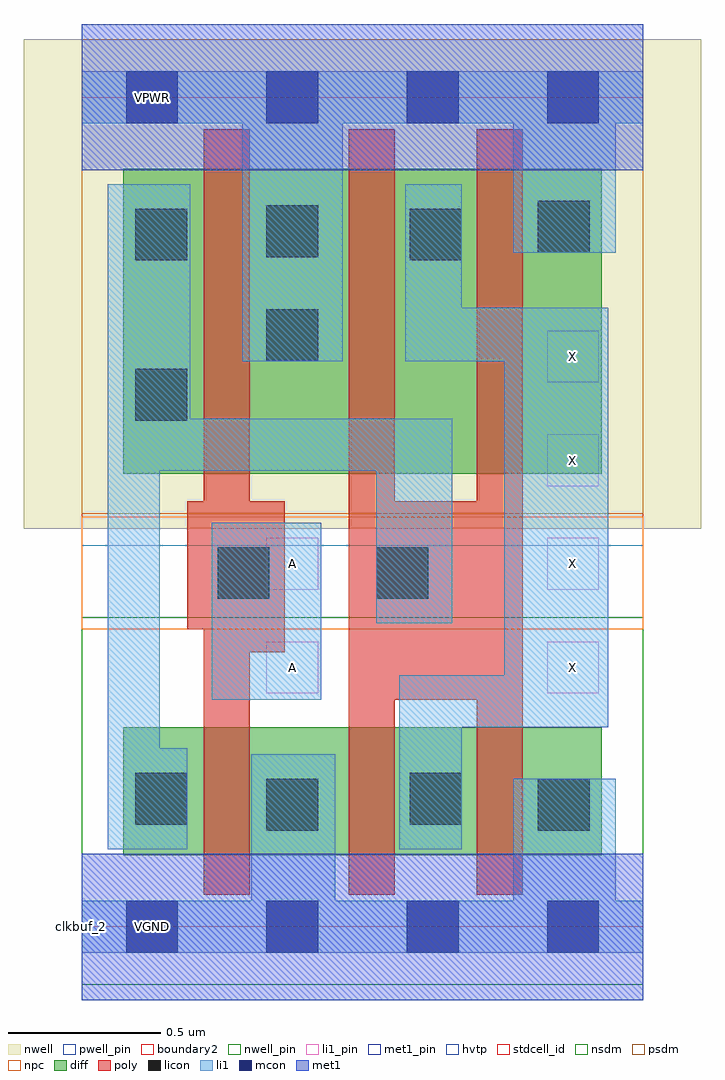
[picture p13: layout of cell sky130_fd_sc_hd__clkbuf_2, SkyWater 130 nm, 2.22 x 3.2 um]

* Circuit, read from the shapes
.subckt sky130_fd_sc_hd__clkbuf_2 A VGND VNB VPB VPWR X
XM1 VGND A n1 VNB sky130_fd_pr__nfet_01v8 w=0.42 l=0.15
XM2 X n1 VGND VNB sky130_fd_pr__nfet_01v8 w=0.42 l=0.15 m=2
XM3 VPWR A n1 VPB sky130_fd_pr__pfet_01v8_hvt w=1 l=0.15
XM4 X n1 VPWR VPB sky130_fd_pr__pfet_01v8_hvt w=1 l=0.15 m=2
.ends

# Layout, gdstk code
import gdstk
lib = gdstk.Library(unit=1e-6, precision=1e-09)
def R(c, l, rs):  # rectangles x0, y0, x1, y1
    for r in rs: c.add(gdstk.rectangle(r[:2], r[2:], *l))
def P(c, l, *ps):  # polygons
    for p in ps: c.add(gdstk.Polygon(p, *l))
nwell_pin = (64, 16)
nwell = (64, 20)
diff = (65, 20)
poly = (66, 20)
licon = (66, 44)
li1_pin = (67, 16)
li1 = (67, 20)
mcon = (67, 44)
met1_pin = (68, 16)
met1 = (68, 20)
hvtp = (78, 44)
stdcell_id = (81, 4)
nsdm = (93, 44)
psdm = (94, 20)
npc = (95, 20)
pwell_pin = (122, 16)
boundary2 = (236, 0)

sky130_fd_sc_hd__clkbuf_ = lib.new_cell('sky130_fd_sc_hd__clkbuf_2')
R(sky130_fd_sc_hd__clkbuf_, nwell_pin, [(0.145,2.635,0.315,2.805), (0.145,2.635,0.315,2.805), (0.145,2.635,0.315,2.805), (0.145,2.635,0.315,2.805), (0.145,2.635,0.315,2.805)])
R(sky130_fd_sc_hd__clkbuf_, nwell, [(-0.19,1.305,2.03,2.91), (-0.19,1.305,2.03,2.91), (-0.19,1.305,2.03,2.91), (-0.19,1.305,2.03,2.91), (-0.19,1.305,2.03,2.91)])
R(sky130_fd_sc_hd__clkbuf_, diff, [(0.135,0.235,1.705,0.655), (0.135,0.235,1.705,0.655), (0.135,0.235,1.705,0.655), (0.135,0.235,1.705,0.655), (0.135,0.235,1.705,0.655), (0.135,1.485,1.705,2.485), (0.135,1.485,1.705,2.485), (0.135,1.485,1.705,2.485), (0.135,1.485,1.705,2.485), (0.135,1.485,1.705,2.485)])
P(sky130_fd_sc_hd__clkbuf_, poly, [(0.4,0.105),(0.4,0.975),(0.345,0.975),(0.345,1.395),(0.4,1.395),(0.4,2.615),(0.55,2.615),(0.55,1.395),(0.665,1.395),(0.665,0.9),(0.55,0.9),(0.55,0.105)],
  [(0.875,0.105),(0.875,2.615),(1.025,2.615),(1.025,1.395),(1.295,1.395),(1.295,2.615),(1.445,2.615),(1.445,0.105),(1.295,0.105),(1.295,0.745),(1.025,0.745),(1.025,0.105)],
  [(0.4,0.105),(0.4,0.975),(0.345,0.975),(0.345,1.395),(0.4,1.395),(0.4,2.615),(0.55,2.615),(0.55,1.395),(0.665,1.395),(0.665,0.9),(0.55,0.9),(0.55,0.105)],
  [(0.875,0.105),(0.875,2.615),(1.025,2.615),(1.025,1.395),(1.295,1.395),(1.295,2.615),(1.445,2.615),(1.445,0.105),(1.295,0.105),(1.295,0.745),(1.025,0.745),(1.025,0.105)],
  [(0.4,0.105),(0.4,0.975),(0.345,0.975),(0.345,1.395),(0.4,1.395),(0.4,2.615),(0.55,2.615),(0.55,1.395),(0.665,1.395),(0.665,0.9),(0.55,0.9),(0.55,0.105)],
  [(0.875,0.105),(0.875,2.615),(1.025,2.615),(1.025,1.395),(1.295,1.395),(1.295,2.615),(1.445,2.615),(1.445,0.105),(1.295,0.105),(1.295,0.745),(1.025,0.745),(1.025,0.105)],
  [(0.4,0.105),(0.4,0.975),(0.345,0.975),(0.345,1.395),(0.4,1.395),(0.4,2.615),(0.55,2.615),(0.55,1.395),(0.665,1.395),(0.665,0.9),(0.55,0.9),(0.55,0.105)],
  [(0.875,0.105),(0.875,2.615),(1.025,2.615),(1.025,1.395),(1.295,1.395),(1.295,2.615),(1.445,2.615),(1.445,0.105),(1.295,0.105),(1.295,0.745),(1.025,0.745),(1.025,0.105)],
  [(0.4,0.105),(0.4,0.975),(0.345,0.975),(0.345,1.395),(0.4,1.395),(0.4,2.615),(0.55,2.615),(0.55,1.395),(0.665,1.395),(0.665,0.9),(0.55,0.9),(0.55,0.105)],
  [(0.875,0.105),(0.875,2.615),(1.025,2.615),(1.025,1.395),(1.295,1.395),(1.295,2.615),(1.445,2.615),(1.445,0.105),(1.295,0.105),(1.295,0.745),(1.025,0.745),(1.025,0.105)])
R(sky130_fd_sc_hd__clkbuf_, licon, [(0.605,0.315,0.775,0.485), (0.605,0.315,0.775,0.485), (0.605,0.315,0.775,0.485), (0.605,0.315,0.775,0.485), (0.605,0.315,0.775,0.485), (1.495,0.315,1.665,0.485), (1.495,0.315,1.665,0.485), (1.495,0.315,1.665,0.485), (1.495,0.315,1.665,0.485), (1.495,0.315,1.665,0.485), (0.175,0.335,0.345,0.505), (0.175,0.335,0.345,0.505), (0.175,0.335,0.345,0.505), (0.175,0.335,0.345,0.505), (0.175,0.335,0.345,0.505), (1.075,0.335,1.245,0.505), (1.075,0.335,1.245,0.505), (1.075,0.335,1.245,0.505), (1.075,0.335,1.245,0.505), (1.075,0.335,1.245,0.505), (0.445,1.075,0.615,1.245), (0.445,1.075,0.615,1.245), (0.445,1.075,0.615,1.245), (0.445,1.075,0.615,1.245), (0.445,1.075,0.615,1.245), (0.965,1.075,1.135,1.245), (0.965,1.075,1.135,1.245), (0.965,1.075,1.135,1.245), (0.965,1.075,1.135,1.245), (0.965,1.075,1.135,1.245), (0.175,1.66,0.345,1.83), (0.175,1.66,0.345,1.83), (0.175,1.66,0.345,1.83), (0.175,1.66,0.345,1.83), (0.175,1.66,0.345,1.83), (0.605,1.855,0.775,2.025), (0.605,1.855,0.775,2.025), (0.605,1.855,0.775,2.025), (0.605,1.855,0.775,2.025), (0.605,1.855,0.775,2.025), (0.175,2.185,0.345,2.355), (0.175,2.185,0.345,2.355), (0.175,2.185,0.345,2.355), (0.175,2.185,0.345,2.355), (0.175,2.185,0.345,2.355), (1.075,2.185,1.245,2.355), (1.075,2.185,1.245,2.355), (1.075,2.185,1.245,2.355), (1.075,2.185,1.245,2.355), (1.075,2.185,1.245,2.355), (0.605,2.195,0.775,2.365), (0.605,2.195,0.775,2.365), (0.605,2.195,0.775,2.365), (0.605,2.195,0.775,2.365), (0.605,2.195,0.775,2.365), (1.495,2.21,1.665,2.38), (1.495,2.21,1.665,2.38), (1.495,2.21,1.665,2.38), (1.495,2.21,1.665,2.38), (1.495,2.21,1.665,2.38)])
R(sky130_fd_sc_hd__clkbuf_, li1_pin, [(0.605,0.765,0.775,0.935), (0.605,0.765,0.775,0.935), (0.605,0.765,0.775,0.935), (0.605,0.765,0.775,0.935), (0.605,0.765,0.775,0.935), (1.525,0.765,1.695,0.935), (1.525,0.765,1.695,0.935), (1.525,0.765,1.695,0.935), (1.525,0.765,1.695,0.935), (1.525,0.765,1.695,0.935), (0.605,1.105,0.775,1.275), (0.605,1.105,0.775,1.275), (0.605,1.105,0.775,1.275), (0.605,1.105,0.775,1.275), (0.605,1.105,0.775,1.275), (1.525,1.105,1.695,1.275), (1.525,1.105,1.695,1.275), (1.525,1.105,1.695,1.275), (1.525,1.105,1.695,1.275), (1.525,1.105,1.695,1.275), (1.525,1.445,1.695,1.615), (1.525,1.445,1.695,1.615), (1.525,1.445,1.695,1.615), (1.525,1.445,1.695,1.615), (1.525,1.445,1.695,1.615), (1.525,1.785,1.695,1.955), (1.525,1.785,1.695,1.955), (1.525,1.785,1.695,1.955), (1.525,1.785,1.695,1.955), (1.525,1.785,1.695,1.955)])
R(sky130_fd_sc_hd__clkbuf_, li1, [(0.425,0.745,0.785,1.325), (0.425,0.745,0.785,1.325), (0.425,0.745,0.785,1.325), (0.425,0.745,0.785,1.325), (0.425,0.745,0.785,1.325)])
P(sky130_fd_sc_hd__clkbuf_, li1, [(0.085,0.255),(0.085,2.435),(0.355,2.435),(0.355,1.665),(1.215,1.665),(1.215,0.995),(0.965,0.995),(0.965,1.495),(0.255,1.495),(0.255,0.585),(0.345,0.585),(0.345,0.255)],
  [(1.04,0.255),(1.04,0.825),(1.385,0.825),(1.385,1.855),(1.06,1.855),(1.06,2.435),(1.245,2.435),(1.245,2.03),(1.725,2.03),(1.725,0.655),(1.245,0.655),(1.245,0.255)],
  [(0.525,1.855),(0.525,2.635),(0,2.635),(0,2.805),(1.84,2.805),(1.84,2.635),(1.75,2.635),(1.75,2.21),(1.415,2.21),(1.415,2.635),(0.855,2.635),(0.855,1.855)],
  [(0,-0.085),(0,0.085),(0.555,0.085),(0.555,0.565),(0.83,0.565),(0.83,0.085),(1.415,0.085),(1.415,0.485),(1.75,0.485),(1.75,0.085),(1.84,0.085),(1.84,-0.085)],
  [(0.085,0.255),(0.085,2.435),(0.355,2.435),(0.355,1.665),(1.215,1.665),(1.215,0.995),(0.965,0.995),(0.965,1.495),(0.255,1.495),(0.255,0.585),(0.345,0.585),(0.345,0.255)],
  [(1.04,0.255),(1.04,0.825),(1.385,0.825),(1.385,1.855),(1.06,1.855),(1.06,2.435),(1.245,2.435),(1.245,2.03),(1.725,2.03),(1.725,0.655),(1.245,0.655),(1.245,0.255)],
  [(0.525,1.855),(0.525,2.635),(0,2.635),(0,2.805),(1.84,2.805),(1.84,2.635),(1.75,2.635),(1.75,2.21),(1.415,2.21),(1.415,2.635),(0.855,2.635),(0.855,1.855)],
  [(0,-0.085),(0,0.085),(0.555,0.085),(0.555,0.565),(0.83,0.565),(0.83,0.085),(1.415,0.085),(1.415,0.485),(1.75,0.485),(1.75,0.085),(1.84,0.085),(1.84,-0.085)],
  [(0.085,0.255),(0.085,2.435),(0.355,2.435),(0.355,1.665),(1.215,1.665),(1.215,0.995),(0.965,0.995),(0.965,1.495),(0.255,1.495),(0.255,0.585),(0.345,0.585),(0.345,0.255)],
  [(1.04,0.255),(1.04,0.825),(1.385,0.825),(1.385,1.855),(1.06,1.855),(1.06,2.435),(1.245,2.435),(1.245,2.03),(1.725,2.03),(1.725,0.655),(1.245,0.655),(1.245,0.255)],
  [(0.525,1.855),(0.525,2.635),(0,2.635),(0,2.805),(1.84,2.805),(1.84,2.635),(1.75,2.635),(1.75,2.21),(1.415,2.21),(1.415,2.635),(0.855,2.635),(0.855,1.855)],
  [(0,-0.085),(0,0.085),(0.555,0.085),(0.555,0.565),(0.83,0.565),(0.83,0.085),(1.415,0.085),(1.415,0.485),(1.75,0.485),(1.75,0.085),(1.84,0.085),(1.84,-0.085)],
  [(0.085,0.255),(0.085,2.435),(0.355,2.435),(0.355,1.665),(1.215,1.665),(1.215,0.995),(0.965,0.995),(0.965,1.495),(0.255,1.495),(0.255,0.585),(0.345,0.585),(0.345,0.255)],
  [(1.04,0.255),(1.04,0.825),(1.385,0.825),(1.385,1.855),(1.06,1.855),(1.06,2.435),(1.245,2.435),(1.245,2.03),(1.725,2.03),(1.725,0.655),(1.245,0.655),(1.245,0.255)],
  [(0.525,1.855),(0.525,2.635),(0,2.635),(0,2.805),(1.84,2.805),(1.84,2.635),(1.75,2.635),(1.75,2.21),(1.415,2.21),(1.415,2.635),(0.855,2.635),(0.855,1.855)],
  [(0,-0.085),(0,0.085),(0.555,0.085),(0.555,0.565),(0.83,0.565),(0.83,0.085),(1.415,0.085),(1.415,0.485),(1.75,0.485),(1.75,0.085),(1.84,0.085),(1.84,-0.085)],
  [(0.085,0.255),(0.085,2.435),(0.355,2.435),(0.355,1.665),(1.215,1.665),(1.215,0.995),(0.965,0.995),(0.965,1.495),(0.255,1.495),(0.255,0.585),(0.345,0.585),(0.345,0.255)],
  [(1.04,0.255),(1.04,0.825),(1.385,0.825),(1.385,1.855),(1.06,1.855),(1.06,2.435),(1.245,2.435),(1.245,2.03),(1.725,2.03),(1.725,0.655),(1.245,0.655),(1.245,0.255)],
  [(0.525,1.855),(0.525,2.635),(0,2.635),(0,2.805),(1.84,2.805),(1.84,2.635),(1.75,2.635),(1.75,2.21),(1.415,2.21),(1.415,2.635),(0.855,2.635),(0.855,1.855)],
  [(0,-0.085),(0,0.085),(0.555,0.085),(0.555,0.565),(0.83,0.565),(0.83,0.085),(1.415,0.085),(1.415,0.485),(1.75,0.485),(1.75,0.085),(1.84,0.085),(1.84,-0.085)])
R(sky130_fd_sc_hd__clkbuf_, mcon, [(0.145,-0.085,0.315,0.085), (0.145,-0.085,0.315,0.085), (0.145,-0.085,0.315,0.085), (0.145,-0.085,0.315,0.085), (0.145,-0.085,0.315,0.085), (0.605,-0.085,0.775,0.085), (0.605,-0.085,0.775,0.085), (0.605,-0.085,0.775,0.085), (0.605,-0.085,0.775,0.085), (0.605,-0.085,0.775,0.085), (1.065,-0.085,1.235,0.085), (1.065,-0.085,1.235,0.085), (1.065,-0.085,1.235,0.085), (1.065,-0.085,1.235,0.085), (1.065,-0.085,1.235,0.085), (1.525,-0.085,1.695,0.085), (1.525,-0.085,1.695,0.085), (1.525,-0.085,1.695,0.085), (1.525,-0.085,1.695,0.085), (1.525,-0.085,1.695,0.085), (0.145,2.635,0.315,2.805), (0.145,2.635,0.315,2.805), (0.145,2.635,0.315,2.805), (0.145,2.635,0.315,2.805), (0.145,2.635,0.315,2.805), (0.605,2.635,0.775,2.805), (0.605,2.635,0.775,2.805), (0.605,2.635,0.775,2.805), (0.605,2.635,0.775,2.805), (0.605,2.635,0.775,2.805), (1.065,2.635,1.235,2.805), (1.065,2.635,1.235,2.805), (1.065,2.635,1.235,2.805), (1.065,2.635,1.235,2.805), (1.065,2.635,1.235,2.805), (1.525,2.635,1.695,2.805), (1.525,2.635,1.695,2.805), (1.525,2.635,1.695,2.805), (1.525,2.635,1.695,2.805), (1.525,2.635,1.695,2.805)])
R(sky130_fd_sc_hd__clkbuf_, met1_pin, [(0.145,-0.085,0.315,0.085), (0.145,-0.085,0.315,0.085), (0.145,-0.085,0.315,0.085), (0.145,-0.085,0.315,0.085), (0.145,-0.085,0.315,0.085), (0.145,-0.085,0.315,0.085), (0.145,-0.085,0.315,0.085), (0.145,-0.085,0.315,0.085), (0.145,-0.085,0.315,0.085), (0.145,-0.085,0.315,0.085), (0.145,2.635,0.315,2.805), (0.145,2.635,0.315,2.805), (0.145,2.635,0.315,2.805), (0.145,2.635,0.315,2.805), (0.145,2.635,0.315,2.805), (0.145,2.635,0.315,2.805), (0.145,2.635,0.315,2.805), (0.145,2.635,0.315,2.805), (0.145,2.635,0.315,2.805), (0.145,2.635,0.315,2.805)])
R(sky130_fd_sc_hd__clkbuf_, met1, [(0,-0.24,1.84,0.24), (0,-0.24,1.84,0.24), (0,-0.24,1.84,0.24), (0,-0.24,1.84,0.24), (0,-0.24,1.84,0.24), (0,2.48,1.84,2.96), (0,2.48,1.84,2.96), (0,2.48,1.84,2.96), (0,2.48,1.84,2.96), (0,2.48,1.84,2.96)])
R(sky130_fd_sc_hd__clkbuf_, hvtp, [(0,1.25,1.84,2.72), (0,1.25,1.84,2.72), (0,1.25,1.84,2.72), (0,1.25,1.84,2.72), (0,1.25,1.84,2.72), (0,1.25,1.84,2.72), (0,1.25,1.84,2.72), (0,1.25,1.84,2.72), (0,1.25,1.84,2.72), (0,1.25,1.84,2.72), (0,1.25,1.84,2.72), (0,1.25,1.84,2.72), (0,1.25,1.84,2.72), (0,1.25,1.84,2.72), (0,1.25,1.84,2.72)])
R(sky130_fd_sc_hd__clkbuf_, stdcell_id, [(0,0,1.84,2.72), (0,0,1.84,2.72), (0,0,1.84,2.72), (0,0,1.84,2.72), (0,0,1.84,2.72)])
R(sky130_fd_sc_hd__clkbuf_, nsdm, [(0,-0.19,1.84,1.015), (0,-0.19,1.84,1.015), (0,-0.19,1.84,1.015), (0,-0.19,1.84,1.015), (0,-0.19,1.84,1.015)])
R(sky130_fd_sc_hd__clkbuf_, psdm, [(0,1.355,1.84,2.91), (0,1.355,1.84,2.91), (0,1.355,1.84,2.91), (0,1.355,1.84,2.91), (0,1.355,1.84,2.91)])
R(sky130_fd_sc_hd__clkbuf_, npc, [(0,0.975,1.84,1.345), (0,0.975,1.84,1.345), (0,0.975,1.84,1.345), (0,0.975,1.84,1.345), (0,0.975,1.84,1.345)])
R(sky130_fd_sc_hd__clkbuf_, pwell_pin, [(0.145,-0.085,0.315,0.085), (0.145,-0.085,0.315,0.085), (0.145,-0.085,0.315,0.085), (0.145,-0.085,0.315,0.085), (0.145,-0.085,0.315,0.085)])
R(sky130_fd_sc_hd__clkbuf_, boundary2, [(0,0,1.84,2.72), (0,0,1.84,2.72), (0,0,1.84,2.72), (0,0,1.84,2.72), (0,0,1.84,2.72)])
sky130_fd_sc_hd__clkbuf_.add(gdstk.Label('A', (0.69,0.85), layer=67, texttype=5))
sky130_fd_sc_hd__clkbuf_.add(gdstk.Label('A', (0.69,1.19), layer=67, texttype=5))
sky130_fd_sc_hd__clkbuf_.add(gdstk.Label('X', (1.61,1.19), layer=67, texttype=5))
sky130_fd_sc_hd__clkbuf_.add(gdstk.Label('X', (1.61,0.85), layer=67, texttype=5))
sky130_fd_sc_hd__clkbuf_.add(gdstk.Label('X', (1.61,1.53), layer=67, texttype=5))
sky130_fd_sc_hd__clkbuf_.add(gdstk.Label('X', (1.61,1.87), layer=67, texttype=5))
sky130_fd_sc_hd__clkbuf_.add(gdstk.Label('A', (0.69,0.85), layer=67, texttype=5))
sky130_fd_sc_hd__clkbuf_.add(gdstk.Label('A', (0.69,1.19), layer=67, texttype=5))
sky130_fd_sc_hd__clkbuf_.add(gdstk.Label('X', (1.61,1.19), layer=67, texttype=5))
sky130_fd_sc_hd__clkbuf_.add(gdstk.Label('X', (1.61,0.85), layer=67, texttype=5))
sky130_fd_sc_hd__clkbuf_.add(gdstk.Label('X', (1.61,1.53), layer=67, texttype=5))
sky130_fd_sc_hd__clkbuf_.add(gdstk.Label('X', (1.61,1.87), layer=67, texttype=5))
sky130_fd_sc_hd__clkbuf_.add(gdstk.Label('A', (0.69,0.85), layer=67, texttype=5))
sky130_fd_sc_hd__clkbuf_.add(gdstk.Label('A', (0.69,1.19), layer=67, texttype=5))
sky130_fd_sc_hd__clkbuf_.add(gdstk.Label('X', (1.61,1.19), layer=67, texttype=5))
sky130_fd_sc_hd__clkbuf_.add(gdstk.Label('X', (1.61,0.85), layer=67, texttype=5))
sky130_fd_sc_hd__clkbuf_.add(gdstk.Label('X', (1.61,1.53), layer=67, texttype=5))
sky130_fd_sc_hd__clkbuf_.add(gdstk.Label('X', (1.61,1.87), layer=67, texttype=5))
sky130_fd_sc_hd__clkbuf_.add(gdstk.Label('A', (0.69,0.85), layer=67, texttype=5))
sky130_fd_sc_hd__clkbuf_.add(gdstk.Label('A', (0.69,1.19), layer=67, texttype=5))
sky130_fd_sc_hd__clkbuf_.add(gdstk.Label('X', (1.61,1.19), layer=67, texttype=5))
sky130_fd_sc_hd__clkbuf_.add(gdstk.Label('X', (1.61,0.85), layer=67, texttype=5))
sky130_fd_sc_hd__clkbuf_.add(gdstk.Label('X', (1.61,1.53), layer=67, texttype=5))
sky130_fd_sc_hd__clkbuf_.add(gdstk.Label('X', (1.61,1.87), layer=67, texttype=5))
sky130_fd_sc_hd__clkbuf_.add(gdstk.Label('A', (0.69,0.85), layer=67, texttype=5))
sky130_fd_sc_hd__clkbuf_.add(gdstk.Label('A', (0.69,1.19), layer=67, texttype=5))
sky130_fd_sc_hd__clkbuf_.add(gdstk.Label('X', (1.61,1.19), layer=67, texttype=5))
sky130_fd_sc_hd__clkbuf_.add(gdstk.Label('X', (1.61,0.85), layer=67, texttype=5))
sky130_fd_sc_hd__clkbuf_.add(gdstk.Label('X', (1.61,1.53), layer=67, texttype=5))
sky130_fd_sc_hd__clkbuf_.add(gdstk.Label('X', (1.61,1.87), layer=67, texttype=5))
sky130_fd_sc_hd__clkbuf_.add(gdstk.Label('VGND', (0.23,0), layer=68, texttype=5))
sky130_fd_sc_hd__clkbuf_.add(gdstk.Label('VPWR', (0.23,2.72), layer=68, texttype=5))
sky130_fd_sc_hd__clkbuf_.add(gdstk.Label('VGND', (0.23,0), layer=68, texttype=5))
sky130_fd_sc_hd__clkbuf_.add(gdstk.Label('VPWR', (0.23,2.72), layer=68, texttype=5))
sky130_fd_sc_hd__clkbuf_.add(gdstk.Label('VGND', (0.23,0), layer=68, texttype=5))
sky130_fd_sc_hd__clkbuf_.add(gdstk.Label('VPWR', (0.23,2.72), layer=68, texttype=5))
sky130_fd_sc_hd__clkbuf_.add(gdstk.Label('VGND', (0.23,0), layer=68, texttype=5))
sky130_fd_sc_hd__clkbuf_.add(gdstk.Label('VPWR', (0.23,2.72), layer=68, texttype=5))
sky130_fd_sc_hd__clkbuf_.add(gdstk.Label('VGND', (0.23,0), layer=68, texttype=5))
sky130_fd_sc_hd__clkbuf_.add(gdstk.Label('VPWR', (0.23,2.72), layer=68, texttype=5))
sky130_fd_sc_hd__clkbuf_.add(gdstk.Label('VGND', (0.23,0), layer=68, texttype=5))
sky130_fd_sc_hd__clkbuf_.add(gdstk.Label('VPWR', (0.23,2.72), layer=68, texttype=5))
sky130_fd_sc_hd__clkbuf_.add(gdstk.Label('VGND', (0.23,0), layer=68, texttype=5))
sky130_fd_sc_hd__clkbuf_.add(gdstk.Label('VPWR', (0.23,2.72), layer=68, texttype=5))
sky130_fd_sc_hd__clkbuf_.add(gdstk.Label('VGND', (0.23,0), layer=68, texttype=5))
sky130_fd_sc_hd__clkbuf_.add(gdstk.Label('VPWR', (0.23,2.72), layer=68, texttype=5))
sky130_fd_sc_hd__clkbuf_.add(gdstk.Label('VGND', (0.23,0), layer=68, texttype=5))
sky130_fd_sc_hd__clkbuf_.add(gdstk.Label('VPWR', (0.23,2.72), layer=68, texttype=5))
sky130_fd_sc_hd__clkbuf_.add(gdstk.Label('VGND', (0.23,0), layer=68, texttype=5))
sky130_fd_sc_hd__clkbuf_.add(gdstk.Label('VPWR', (0.23,2.72), layer=68, texttype=5))
sky130_fd_sc_hd__clkbuf_.add(gdstk.Label('VPB', (0.23,2.72), layer=64, texttype=5))
sky130_fd_sc_hd__clkbuf_.add(gdstk.Label('VPB', (0.23,2.72), layer=64, texttype=5))
sky130_fd_sc_hd__clkbuf_.add(gdstk.Label('VPB', (0.23,2.72), layer=64, texttype=5))
sky130_fd_sc_hd__clkbuf_.add(gdstk.Label('VPB', (0.23,2.72), layer=64, texttype=5))
sky130_fd_sc_hd__clkbuf_.add(gdstk.Label('VPB', (0.23,2.72), layer=64, texttype=5))
sky130_fd_sc_hd__clkbuf_.add(gdstk.Label('VNB', (0.23,0), layer=64, texttype=59))
sky130_fd_sc_hd__clkbuf_.add(gdstk.Label('VNB', (0.23,0), layer=64, texttype=59))
sky130_fd_sc_hd__clkbuf_.add(gdstk.Label('VNB', (0.23,0), layer=64, texttype=59))
sky130_fd_sc_hd__clkbuf_.add(gdstk.Label('VNB', (0.23,0), layer=64, texttype=59))
sky130_fd_sc_hd__clkbuf_.add(gdstk.Label('VNB', (0.23,0), layer=64, texttype=59))
sky130_fd_sc_hd__clkbuf_.add(gdstk.Label('clkbuf_2', (0,0), layer=83, texttype=44))
sky130_fd_sc_hd__clkbuf_.add(gdstk.Label('clkbuf_2', (0,0), layer=83, texttype=44))
sky130_fd_sc_hd__clkbuf_.add(gdstk.Label('clkbuf_2', (0,0), layer=83, texttype=44))
sky130_fd_sc_hd__clkbuf_.add(gdstk.Label('clkbuf_2', (0,0), layer=83, texttype=44))
sky130_fd_sc_hd__clkbuf_.add(gdstk.Label('clkbuf_2', (0,0), layer=83, texttype=44))

lib.write_gds('sky130_fd_sc_hd__clkbuf_2.gds')
